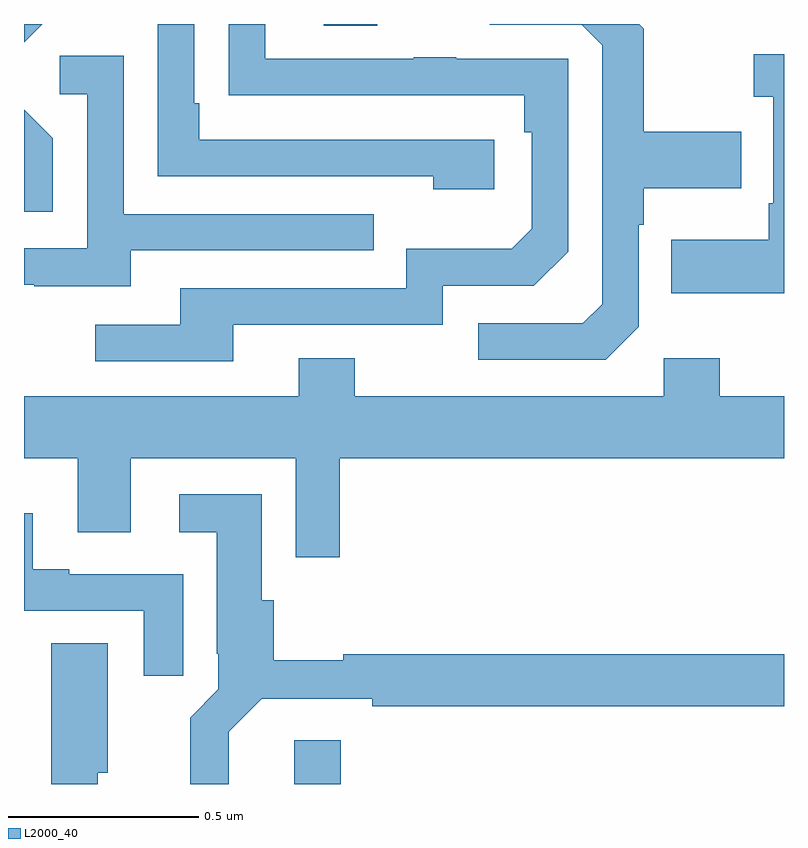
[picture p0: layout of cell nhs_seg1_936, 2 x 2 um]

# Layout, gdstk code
import gdstk
lib = gdstk.Library(unit=1e-6, precision=1e-09)
def R(c, l, rs):  # rectangles x0, y0, x1, y1
    for r in rs: c.add(gdstk.rectangle(r[:2], r[2:], *l))
def P(c, l, *ps):  # polygons
    for p in ps: c.add(gdstk.Polygon(p, *l))
L2000_40 = (2000, 40)

nhs_seg1_936 = lib.new_cell('nhs_seg1_936')
R(nhs_seg1_936, L2000_40, [(122.711,560.199,122.834,560.314), (122.789,562.194,122.929,562.199)])
P(nhs_seg1_936, L2000_40, [(123.618,561.402),(123.618,561.671),(123.631,561.671),(123.631,561.767),(123.887,561.767),(123.887,561.915),(123.631,561.915),(123.631,562.187),(123.619,562.199),(123.225,562.199),(123.225,562.197),(123.468,562.197),(123.522,562.143),(123.522,561.462),(123.471,561.411),(123.195,561.411),(123.195,561.315),(123.531,561.315)],
  [(122.048,562.199),(122,562.199),(122,562.151)],
  [(123.238,561.894),(122.461,561.894),(122.461,561.991),(122.448,561.991),(122.448,562.199),(122.352,562.199),(122.352,561.798),(123.077,561.798),(123.077,561.764),(123.238,561.764)],
  [(122.551,561.408),(123.102,561.408),(123.102,561.51),(123.342,561.51),(123.432,561.6),(123.432,562.107),(123.137,562.107),(123.137,562.112),(123.025,562.112),(123.025,562.107),(122.635,562.107),(122.635,562.199),(122.539,562.199),(122.539,562.012),(122.641,562.012),(122.641,562.011),(123.316,562.011),(123.316,561.914),(123.336,561.914),(123.336,561.66),(123.283,561.607),(123.006,561.607),(123.006,561.504),(122.411,561.504),(122.411,561.408),(122.187,561.408),(122.187,561.312),(122.551,561.312)],
  [(124,562.12),(123.921,562.12),(123.921,562.007),(123.972,562.007),(123.972,561.727),(123.96,561.727),(123.96,561.631),(123.703,561.631),(123.703,561.491),(124,561.491)],
  [(122.281,561.603),(122.921,561.603),(122.921,561.699),(122.262,561.699),(122.262,562.115),(122.094,562.115),(122.094,562.014),(122.166,562.014),(122.166,561.609),(122,561.609),(122,561.513),(122.027,561.513),(122.027,561.509),(122.281,561.509)],
  [(122.076,561.898),(122,561.974),(122,561.705),(122.076,561.705)],
  [(122.831,561.056),(124,561.056),(124,561.22),(123.831,561.22),(123.831,561.319),(123.684,561.319),(123.684,561.22),(122.871,561.22),(122.871,561.319),(122.723,561.319),(122.723,561.22),(122,561.22),(122,561.056),(122.141,561.056),(122.141,560.862),(122.281,560.862),(122.281,561.056),(122.715,561.056),(122.715,560.796),(122.831,560.796)],
  [(122.539,560.336),(122.626,560.424),(122.917,560.424),(122.917,560.404),(124,560.404),(124,560.54),(122.84,560.54),(122.84,560.525),(122.657,560.525),(122.657,560.682),(122.626,560.682),(122.626,560.962),(122.409,560.962),(122.409,560.861),(122.507,560.861),(122.507,560.542),(122.511,560.542),(122.511,560.448),(122.437,560.374),(122.437,560.199),(122.539,560.199)],
  [(122.419,560.751),(122.119,560.751),(122.119,560.764),(122.023,560.764),(122.023,560.911),(122,560.911),(122,560.655),(122.315,560.655),(122.315,560.484),(122.419,560.484)],
  [(122.194,560.229),(122.221,560.229),(122.221,560.57),(122.072,560.57),(122.072,560.199),(122.194,560.199)])

lib.write_gds('nhs_seg1_936.gds')
